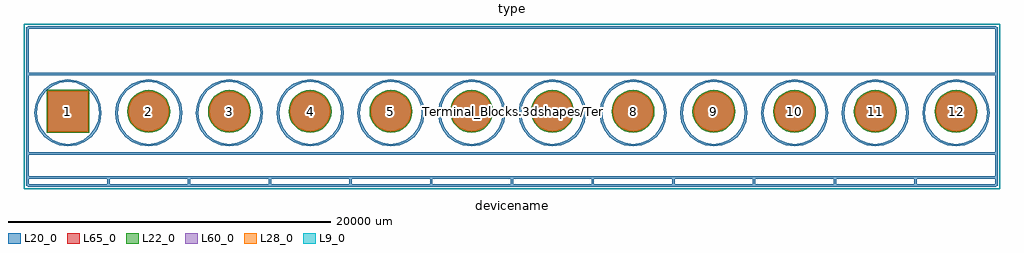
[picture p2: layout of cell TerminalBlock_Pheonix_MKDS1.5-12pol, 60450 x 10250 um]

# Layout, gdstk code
import gdstk
lib = gdstk.Library(unit=1e-6, precision=1e-09)
def R(c, l, rs):  # rectangles x0, y0, x1, y1
    for r in rs: c.add(gdstk.rectangle(r[:2], r[2:], *l))
def P(c, l, *ps):  # polygons
    for p in ps: c.add(gdstk.Polygon(p, *l))
L9_0 = (9, 0)
L20_0 = (20, 0)
L22_0 = (22, 0)
L28_0 = (28, 0)
L60_0 = (60, 0)
L65_0 = (65, 0)

terminalblock_pheonix_mk = lib.new_cell('TerminalBlock_Pheonix_MKDS1.5-12pol')
R(terminalblock_pheonix_mk, L22_0, [(-1325,-1325,1325,1325)])
P(terminalblock_pheonix_mk, L22_0, [(6325,0),(6299.54,258.495),(6224.14,507.056),(6101.697,736.131),(5936.916,936.916),(5736.131,1101.697),(5507.056,1224.14),(5258.495,1299.54),(5000,1325),(4741.505,1299.54),(4492.944,1224.14),(4263.869,1101.697),(4063.084,936.916),(3898.303,736.131),(3775.86,507.056),(3700.46,258.495),(3675,0),(3700.46,-258.495),(3775.86,-507.056),(3898.303,-736.131),(4063.084,-936.916),(4263.869,-1101.697),(4492.944,-1224.14),(4741.505,-1299.54),(5000,-1325),(5258.495,-1299.54),(5507.056,-1224.14),(5736.131,-1101.697),(5936.916,-936.916),(6101.697,-736.131),(6224.14,-507.056),(6299.54,-258.495)],
  [(11325,0),(11299.54,258.495),(11224.14,507.056),(11101.697,736.131),(10936.916,936.916),(10736.131,1101.697),(10507.056,1224.14),(10258.495,1299.54),(10000,1325),(9741.505,1299.54),(9492.944,1224.14),(9263.869,1101.697),(9063.084,936.916),(8898.303,736.131),(8775.86,507.056),(8700.46,258.495),(8675,0),(8700.46,-258.495),(8775.86,-507.056),(8898.303,-736.131),(9063.084,-936.916),(9263.869,-1101.697),(9492.944,-1224.14),(9741.505,-1299.54),(10000,-1325),(10258.495,-1299.54),(10507.056,-1224.14),(10736.131,-1101.697),(10936.916,-936.916),(11101.697,-736.131),(11224.14,-507.056),(11299.54,-258.495)],
  [(16325,0),(16299.54,258.495),(16224.14,507.056),(16101.697,736.131),(15936.916,936.916),(15736.131,1101.697),(15507.056,1224.14),(15258.495,1299.54),(15000,1325),(14741.505,1299.54),(14492.944,1224.14),(14263.869,1101.697),(14063.084,936.916),(13898.303,736.131),(13775.86,507.056),(13700.46,258.495),(13675,0),(13700.46,-258.495),(13775.86,-507.056),(13898.303,-736.131),(14063.084,-936.916),(14263.869,-1101.697),(14492.944,-1224.14),(14741.505,-1299.54),(15000,-1325),(15258.495,-1299.54),(15507.056,-1224.14),(15736.131,-1101.697),(15936.916,-936.916),(16101.697,-736.131),(16224.14,-507.056),(16299.54,-258.495)],
  [(21325,0),(21299.54,258.495),(21224.14,507.056),(21101.697,736.131),(20936.916,936.916),(20736.131,1101.697),(20507.056,1224.14),(20258.495,1299.54),(20000,1325),(19741.505,1299.54),(19492.944,1224.14),(19263.869,1101.697),(19063.084,936.916),(18898.303,736.131),(18775.86,507.056),(18700.46,258.495),(18675,0),(18700.46,-258.495),(18775.86,-507.056),(18898.303,-736.131),(19063.084,-936.916),(19263.869,-1101.697),(19492.944,-1224.14),(19741.505,-1299.54),(20000,-1325),(20258.495,-1299.54),(20507.056,-1224.14),(20736.131,-1101.697),(20936.916,-936.916),(21101.697,-736.131),(21224.14,-507.056),(21299.54,-258.495)],
  [(26325,0),(26299.54,258.495),(26224.14,507.056),(26101.697,736.131),(25936.916,936.916),(25736.131,1101.697),(25507.056,1224.14),(25258.495,1299.54),(25000,1325),(24741.505,1299.54),(24492.944,1224.14),(24263.869,1101.697),(24063.084,936.916),(23898.303,736.131),(23775.86,507.056),(23700.46,258.495),(23675,0),(23700.46,-258.495),(23775.86,-507.056),(23898.303,-736.131),(24063.084,-936.916),(24263.869,-1101.697),(24492.944,-1224.14),(24741.505,-1299.54),(25000,-1325),(25258.495,-1299.54),(25507.056,-1224.14),(25736.131,-1101.697),(25936.916,-936.916),(26101.697,-736.131),(26224.14,-507.056),(26299.54,-258.495)],
  [(31325,0),(31299.54,258.495),(31224.14,507.056),(31101.697,736.131),(30936.916,936.916),(30736.131,1101.697),(30507.056,1224.14),(30258.495,1299.54),(30000,1325),(29741.505,1299.54),(29492.944,1224.14),(29263.869,1101.697),(29063.084,936.916),(28898.303,736.131),(28775.86,507.056),(28700.46,258.495),(28675,0),(28700.46,-258.495),(28775.86,-507.056),(28898.303,-736.131),(29063.084,-936.916),(29263.869,-1101.697),(29492.944,-1224.14),(29741.505,-1299.54),(30000,-1325),(30258.495,-1299.54),(30507.056,-1224.14),(30736.131,-1101.697),(30936.916,-936.916),(31101.697,-736.131),(31224.14,-507.056),(31299.54,-258.495)],
  [(36325,0),(36299.54,258.495),(36224.14,507.056),(36101.697,736.131),(35936.916,936.916),(35736.131,1101.697),(35507.056,1224.14),(35258.495,1299.54),(35000,1325),(34741.505,1299.54),(34492.944,1224.14),(34263.869,1101.697),(34063.084,936.916),(33898.303,736.131),(33775.86,507.056),(33700.46,258.495),(33675,0),(33700.46,-258.495),(33775.86,-507.056),(33898.303,-736.131),(34063.084,-936.916),(34263.869,-1101.697),(34492.944,-1224.14),(34741.505,-1299.54),(35000,-1325),(35258.495,-1299.54),(35507.056,-1224.14),(35736.131,-1101.697),(35936.916,-936.916),(36101.697,-736.131),(36224.14,-507.056),(36299.54,-258.495)],
  [(41325,0),(41299.54,258.495),(41224.14,507.056),(41101.697,736.131),(40936.916,936.916),(40736.131,1101.697),(40507.056,1224.14),(40258.495,1299.54),(40000,1325),(39741.505,1299.54),(39492.944,1224.14),(39263.869,1101.697),(39063.084,936.916),(38898.303,736.131),(38775.86,507.056),(38700.46,258.495),(38675,0),(38700.46,-258.495),(38775.86,-507.056),(38898.303,-736.131),(39063.084,-936.916),(39263.869,-1101.697),(39492.944,-1224.14),(39741.505,-1299.54),(40000,-1325),(40258.495,-1299.54),(40507.056,-1224.14),(40736.131,-1101.697),(40936.916,-936.916),(41101.697,-736.131),(41224.14,-507.056),(41299.54,-258.495)],
  [(46325,0),(46299.54,258.495),(46224.14,507.056),(46101.697,736.131),(45936.916,936.916),(45736.131,1101.697),(45507.056,1224.14),(45258.495,1299.54),(45000,1325),(44741.505,1299.54),(44492.944,1224.14),(44263.869,1101.697),(44063.084,936.916),(43898.303,736.131),(43775.86,507.056),(43700.46,258.495),(43675,0),(43700.46,-258.495),(43775.86,-507.056),(43898.303,-736.131),(44063.084,-936.916),(44263.869,-1101.697),(44492.944,-1224.14),(44741.505,-1299.54),(45000,-1325),(45258.495,-1299.54),(45507.056,-1224.14),(45736.131,-1101.697),(45936.916,-936.916),(46101.697,-736.131),(46224.14,-507.056),(46299.54,-258.495)],
  [(51325,0),(51299.54,258.495),(51224.14,507.056),(51101.697,736.131),(50936.916,936.916),(50736.131,1101.697),(50507.056,1224.14),(50258.495,1299.54),(50000,1325),(49741.505,1299.54),(49492.944,1224.14),(49263.869,1101.697),(49063.084,936.916),(48898.303,736.131),(48775.86,507.056),(48700.46,258.495),(48675,0),(48700.46,-258.495),(48775.86,-507.056),(48898.303,-736.131),(49063.084,-936.916),(49263.869,-1101.697),(49492.944,-1224.14),(49741.505,-1299.54),(50000,-1325),(50258.495,-1299.54),(50507.056,-1224.14),(50736.131,-1101.697),(50936.916,-936.916),(51101.697,-736.131),(51224.14,-507.056),(51299.54,-258.495)],
  [(56325,0),(56299.54,258.495),(56224.14,507.056),(56101.697,736.131),(55936.916,936.916),(55736.131,1101.697),(55507.056,1224.14),(55258.495,1299.54),(55000,1325),(54741.505,1299.54),(54492.944,1224.14),(54263.869,1101.697),(54063.084,936.916),(53898.303,736.131),(53775.86,507.056),(53700.46,258.495),(53675,0),(53700.46,-258.495),(53775.86,-507.056),(53898.303,-736.131),(54063.084,-936.916),(54263.869,-1101.697),(54492.944,-1224.14),(54741.505,-1299.54),(55000,-1325),(55258.495,-1299.54),(55507.056,-1224.14),(55736.131,-1101.697),(55936.916,-936.916),(56101.697,-736.131),(56224.14,-507.056),(56299.54,-258.495)])
R(terminalblock_pheonix_mk, L28_0, [(-1250,-1250,1250,1250)])
P(terminalblock_pheonix_mk, L28_0, [(6250,0),(6225.982,243.863),(6154.849,478.354),(6039.337,694.463),(5883.883,883.883),(5694.463,1039.337),(5478.354,1154.849),(5243.863,1225.982),(5000,1250),(4756.137,1225.982),(4521.646,1154.849),(4305.537,1039.337),(4116.117,883.883),(3960.663,694.463),(3845.151,478.354),(3774.018,243.863),(3750,0),(3774.018,-243.863),(3845.151,-478.354),(3960.663,-694.463),(4116.117,-883.883),(4305.537,-1039.337),(4521.646,-1154.849),(4756.137,-1225.982),(5000,-1250),(5243.863,-1225.982),(5478.354,-1154.849),(5694.463,-1039.337),(5883.883,-883.883),(6039.337,-694.463),(6154.849,-478.354),(6225.982,-243.863)],
  [(11250,0),(11225.982,243.863),(11154.849,478.354),(11039.337,694.463),(10883.883,883.883),(10694.463,1039.337),(10478.354,1154.849),(10243.863,1225.982),(10000,1250),(9756.137,1225.982),(9521.646,1154.849),(9305.537,1039.337),(9116.117,883.883),(8960.663,694.463),(8845.151,478.354),(8774.018,243.863),(8750,0),(8774.018,-243.863),(8845.151,-478.354),(8960.663,-694.463),(9116.117,-883.883),(9305.537,-1039.337),(9521.646,-1154.849),(9756.137,-1225.982),(10000,-1250),(10243.863,-1225.982),(10478.354,-1154.849),(10694.463,-1039.337),(10883.883,-883.883),(11039.337,-694.463),(11154.849,-478.354),(11225.982,-243.863)],
  [(16250,0),(16225.982,243.863),(16154.849,478.354),(16039.337,694.463),(15883.883,883.883),(15694.463,1039.337),(15478.354,1154.849),(15243.863,1225.982),(15000,1250),(14756.137,1225.982),(14521.646,1154.849),(14305.537,1039.337),(14116.117,883.883),(13960.663,694.463),(13845.151,478.354),(13774.018,243.863),(13750,0),(13774.018,-243.863),(13845.151,-478.354),(13960.663,-694.463),(14116.117,-883.883),(14305.537,-1039.337),(14521.646,-1154.849),(14756.137,-1225.982),(15000,-1250),(15243.863,-1225.982),(15478.354,-1154.849),(15694.463,-1039.337),(15883.883,-883.883),(16039.337,-694.463),(16154.849,-478.354),(16225.982,-243.863)],
  [(21250,0),(21225.982,243.863),(21154.849,478.354),(21039.337,694.463),(20883.883,883.883),(20694.463,1039.337),(20478.354,1154.849),(20243.863,1225.982),(20000,1250),(19756.137,1225.982),(19521.646,1154.849),(19305.537,1039.337),(19116.117,883.883),(18960.663,694.463),(18845.151,478.354),(18774.018,243.863),(18750,0),(18774.018,-243.863),(18845.151,-478.354),(18960.663,-694.463),(19116.117,-883.883),(19305.537,-1039.337),(19521.646,-1154.849),(19756.137,-1225.982),(20000,-1250),(20243.863,-1225.982),(20478.354,-1154.849),(20694.463,-1039.337),(20883.883,-883.883),(21039.337,-694.463),(21154.849,-478.354),(21225.982,-243.863)],
  [(26250,0),(26225.982,243.863),(26154.849,478.354),(26039.337,694.463),(25883.883,883.883),(25694.463,1039.337),(25478.354,1154.849),(25243.863,1225.982),(25000,1250),(24756.137,1225.982),(24521.646,1154.849),(24305.537,1039.337),(24116.117,883.883),(23960.663,694.463),(23845.151,478.354),(23774.018,243.863),(23750,0),(23774.018,-243.863),(23845.151,-478.354),(23960.663,-694.463),(24116.117,-883.883),(24305.537,-1039.337),(24521.646,-1154.849),(24756.137,-1225.982),(25000,-1250),(25243.863,-1225.982),(25478.354,-1154.849),(25694.463,-1039.337),(25883.883,-883.883),(26039.337,-694.463),(26154.849,-478.354),(26225.982,-243.863)],
  [(31250,0),(31225.982,243.863),(31154.849,478.354),(31039.337,694.463),(30883.883,883.883),(30694.463,1039.337),(30478.354,1154.849),(30243.863,1225.982),(30000,1250),(29756.137,1225.982),(29521.646,1154.849),(29305.537,1039.337),(29116.117,883.883),(28960.663,694.463),(28845.151,478.354),(28774.018,243.863),(28750,0),(28774.018,-243.863),(28845.151,-478.354),(28960.663,-694.463),(29116.117,-883.883),(29305.537,-1039.337),(29521.646,-1154.849),(29756.137,-1225.982),(30000,-1250),(30243.863,-1225.982),(30478.354,-1154.849),(30694.463,-1039.337),(30883.883,-883.883),(31039.337,-694.463),(31154.849,-478.354),(31225.982,-243.863)],
  [(36250,0),(36225.982,243.863),(36154.849,478.354),(36039.337,694.463),(35883.883,883.883),(35694.463,1039.337),(35478.354,1154.849),(35243.863,1225.982),(35000,1250),(34756.137,1225.982),(34521.646,1154.849),(34305.537,1039.337),(34116.117,883.883),(33960.663,694.463),(33845.151,478.354),(33774.018,243.863),(33750,0),(33774.018,-243.863),(33845.151,-478.354),(33960.663,-694.463),(34116.117,-883.883),(34305.537,-1039.337),(34521.646,-1154.849),(34756.137,-1225.982),(35000,-1250),(35243.863,-1225.982),(35478.354,-1154.849),(35694.463,-1039.337),(35883.883,-883.883),(36039.337,-694.463),(36154.849,-478.354),(36225.982,-243.863)],
  [(41250,0),(41225.982,243.863),(41154.849,478.354),(41039.337,694.463),(40883.883,883.883),(40694.463,1039.337),(40478.354,1154.849),(40243.863,1225.982),(40000,1250),(39756.137,1225.982),(39521.646,1154.849),(39305.537,1039.337),(39116.117,883.883),(38960.663,694.463),(38845.151,478.354),(38774.018,243.863),(38750,0),(38774.018,-243.863),(38845.151,-478.354),(38960.663,-694.463),(39116.117,-883.883),(39305.537,-1039.337),(39521.646,-1154.849),(39756.137,-1225.982),(40000,-1250),(40243.863,-1225.982),(40478.354,-1154.849),(40694.463,-1039.337),(40883.883,-883.883),(41039.337,-694.463),(41154.849,-478.354),(41225.982,-243.863)],
  [(46250,0),(46225.982,243.863),(46154.849,478.354),(46039.337,694.463),(45883.883,883.883),(45694.463,1039.337),(45478.354,1154.849),(45243.863,1225.982),(45000,1250),(44756.137,1225.982),(44521.646,1154.849),(44305.537,1039.337),(44116.117,883.883),(43960.663,694.463),(43845.151,478.354),(43774.018,243.863),(43750,0),(43774.018,-243.863),(43845.151,-478.354),(43960.663,-694.463),(44116.117,-883.883),(44305.537,-1039.337),(44521.646,-1154.849),(44756.137,-1225.982),(45000,-1250),(45243.863,-1225.982),(45478.354,-1154.849),(45694.463,-1039.337),(45883.883,-883.883),(46039.337,-694.463),(46154.849,-478.354),(46225.982,-243.863)],
  [(51250,0),(51225.982,243.863),(51154.849,478.354),(51039.337,694.463),(50883.883,883.883),(50694.463,1039.337),(50478.354,1154.849),(50243.863,1225.982),(50000,1250),(49756.137,1225.982),(49521.646,1154.849),(49305.537,1039.337),(49116.117,883.883),(48960.663,694.463),(48845.151,478.354),(48774.018,243.863),(48750,0),(48774.018,-243.863),(48845.151,-478.354),(48960.663,-694.463),(49116.117,-883.883),(49305.537,-1039.337),(49521.646,-1154.849),(49756.137,-1225.982),(50000,-1250),(50243.863,-1225.982),(50478.354,-1154.849),(50694.463,-1039.337),(50883.883,-883.883),(51039.337,-694.463),(51154.849,-478.354),(51225.982,-243.863)],
  [(56250,0),(56225.982,243.863),(56154.849,478.354),(56039.337,694.463),(55883.883,883.883),(55694.463,1039.337),(55478.354,1154.849),(55243.863,1225.982),(55000,1250),(54756.137,1225.982),(54521.646,1154.849),(54305.537,1039.337),(54116.117,883.883),(53960.663,694.463),(53845.151,478.354),(53774.018,243.863),(53750,0),(53774.018,-243.863),(53845.151,-478.354),(53960.663,-694.463),(54116.117,-883.883),(54305.537,-1039.337),(54521.646,-1154.849),(54756.137,-1225.982),(55000,-1250),(55243.863,-1225.982),(55478.354,-1154.849),(55694.463,-1039.337),(55883.883,-883.883),(56039.337,-694.463),(56154.849,-478.354),(56225.982,-243.863)])
R(terminalblock_pheonix_mk, L60_0, [(-1250,-1250,1250,1250)])
P(terminalblock_pheonix_mk, L60_0, [(6250,0),(6225.982,243.863),(6154.849,478.354),(6039.337,694.463),(5883.883,883.883),(5694.463,1039.337),(5478.354,1154.849),(5243.863,1225.982),(5000,1250),(4756.137,1225.982),(4521.646,1154.849),(4305.537,1039.337),(4116.117,883.883),(3960.663,694.463),(3845.151,478.354),(3774.018,243.863),(3750,0),(3774.018,-243.863),(3845.151,-478.354),(3960.663,-694.463),(4116.117,-883.883),(4305.537,-1039.337),(4521.646,-1154.849),(4756.137,-1225.982),(5000,-1250),(5243.863,-1225.982),(5478.354,-1154.849),(5694.463,-1039.337),(5883.883,-883.883),(6039.337,-694.463),(6154.849,-478.354),(6225.982,-243.863)],
  [(11250,0),(11225.982,243.863),(11154.849,478.354),(11039.337,694.463),(10883.883,883.883),(10694.463,1039.337),(10478.354,1154.849),(10243.863,1225.982),(10000,1250),(9756.137,1225.982),(9521.646,1154.849),(9305.537,1039.337),(9116.117,883.883),(8960.663,694.463),(8845.151,478.354),(8774.018,243.863),(8750,0),(8774.018,-243.863),(8845.151,-478.354),(8960.663,-694.463),(9116.117,-883.883),(9305.537,-1039.337),(9521.646,-1154.849),(9756.137,-1225.982),(10000,-1250),(10243.863,-1225.982),(10478.354,-1154.849),(10694.463,-1039.337),(10883.883,-883.883),(11039.337,-694.463),(11154.849,-478.354),(11225.982,-243.863)],
  [(16250,0),(16225.982,243.863),(16154.849,478.354),(16039.337,694.463),(15883.883,883.883),(15694.463,1039.337),(15478.354,1154.849),(15243.863,1225.982),(15000,1250),(14756.137,1225.982),(14521.646,1154.849),(14305.537,1039.337),(14116.117,883.883),(13960.663,694.463),(13845.151,478.354),(13774.018,243.863),(13750,0),(13774.018,-243.863),(13845.151,-478.354),(13960.663,-694.463),(14116.117,-883.883),(14305.537,-1039.337),(14521.646,-1154.849),(14756.137,-1225.982),(15000,-1250),(15243.863,-1225.982),(15478.354,-1154.849),(15694.463,-1039.337),(15883.883,-883.883),(16039.337,-694.463),(16154.849,-478.354),(16225.982,-243.863)],
  [(21250,0),(21225.982,243.863),(21154.849,478.354),(21039.337,694.463),(20883.883,883.883),(20694.463,1039.337),(20478.354,1154.849),(20243.863,1225.982),(20000,1250),(19756.137,1225.982),(19521.646,1154.849),(19305.537,1039.337),(19116.117,883.883),(18960.663,694.463),(18845.151,478.354),(18774.018,243.863),(18750,0),(18774.018,-243.863),(18845.151,-478.354),(18960.663,-694.463),(19116.117,-883.883),(19305.537,-1039.337),(19521.646,-1154.849),(19756.137,-1225.982),(20000,-1250),(20243.863,-1225.982),(20478.354,-1154.849),(20694.463,-1039.337),(20883.883,-883.883),(21039.337,-694.463),(21154.849,-478.354),(21225.982,-243.863)],
  [(26250,0),(26225.982,243.863),(26154.849,478.354),(26039.337,694.463),(25883.883,883.883),(25694.463,1039.337),(25478.354,1154.849),(25243.863,1225.982),(25000,1250),(24756.137,1225.982),(24521.646,1154.849),(24305.537,1039.337),(24116.117,883.883),(23960.663,694.463),(23845.151,478.354),(23774.018,243.863),(23750,0),(23774.018,-243.863),(23845.151,-478.354),(23960.663,-694.463),(24116.117,-883.883),(24305.537,-1039.337),(24521.646,-1154.849),(24756.137,-1225.982),(25000,-1250),(25243.863,-1225.982),(25478.354,-1154.849),(25694.463,-1039.337),(25883.883,-883.883),(26039.337,-694.463),(26154.849,-478.354),(26225.982,-243.863)],
  [(31250,0),(31225.982,243.863),(31154.849,478.354),(31039.337,694.463),(30883.883,883.883),(30694.463,1039.337),(30478.354,1154.849),(30243.863,1225.982),(30000,1250),(29756.137,1225.982),(29521.646,1154.849),(29305.537,1039.337),(29116.117,883.883),(28960.663,694.463),(28845.151,478.354),(28774.018,243.863),(28750,0),(28774.018,-243.863),(28845.151,-478.354),(28960.663,-694.463),(29116.117,-883.883),(29305.537,-1039.337),(29521.646,-1154.849),(29756.137,-1225.982),(30000,-1250),(30243.863,-1225.982),(30478.354,-1154.849),(30694.463,-1039.337),(30883.883,-883.883),(31039.337,-694.463),(31154.849,-478.354),(31225.982,-243.863)],
  [(36250,0),(36225.982,243.863),(36154.849,478.354),(36039.337,694.463),(35883.883,883.883),(35694.463,1039.337),(35478.354,1154.849),(35243.863,1225.982),(35000,1250),(34756.137,1225.982),(34521.646,1154.849),(34305.537,1039.337),(34116.117,883.883),(33960.663,694.463),(33845.151,478.354),(33774.018,243.863),(33750,0),(33774.018,-243.863),(33845.151,-478.354),(33960.663,-694.463),(34116.117,-883.883),(34305.537,-1039.337),(34521.646,-1154.849),(34756.137,-1225.982),(35000,-1250),(35243.863,-1225.982),(35478.354,-1154.849),(35694.463,-1039.337),(35883.883,-883.883),(36039.337,-694.463),(36154.849,-478.354),(36225.982,-243.863)],
  [(41250,0),(41225.982,243.863),(41154.849,478.354),(41039.337,694.463),(40883.883,883.883),(40694.463,1039.337),(40478.354,1154.849),(40243.863,1225.982),(40000,1250),(39756.137,1225.982),(39521.646,1154.849),(39305.537,1039.337),(39116.117,883.883),(38960.663,694.463),(38845.151,478.354),(38774.018,243.863),(38750,0),(38774.018,-243.863),(38845.151,-478.354),(38960.663,-694.463),(39116.117,-883.883),(39305.537,-1039.337),(39521.646,-1154.849),(39756.137,-1225.982),(40000,-1250),(40243.863,-1225.982),(40478.354,-1154.849),(40694.463,-1039.337),(40883.883,-883.883),(41039.337,-694.463),(41154.849,-478.354),(41225.982,-243.863)],
  [(46250,0),(46225.982,243.863),(46154.849,478.354),(46039.337,694.463),(45883.883,883.883),(45694.463,1039.337),(45478.354,1154.849),(45243.863,1225.982),(45000,1250),(44756.137,1225.982),(44521.646,1154.849),(44305.537,1039.337),(44116.117,883.883),(43960.663,694.463),(43845.151,478.354),(43774.018,243.863),(43750,0),(43774.018,-243.863),(43845.151,-478.354),(43960.663,-694.463),(44116.117,-883.883),(44305.537,-1039.337),(44521.646,-1154.849),(44756.137,-1225.982),(45000,-1250),(45243.863,-1225.982),(45478.354,-1154.849),(45694.463,-1039.337),(45883.883,-883.883),(46039.337,-694.463),(46154.849,-478.354),(46225.982,-243.863)],
  [(51250,0),(51225.982,243.863),(51154.849,478.354),(51039.337,694.463),(50883.883,883.883),(50694.463,1039.337),(50478.354,1154.849),(50243.863,1225.982),(50000,1250),(49756.137,1225.982),(49521.646,1154.849),(49305.537,1039.337),(49116.117,883.883),(48960.663,694.463),(48845.151,478.354),(48774.018,243.863),(48750,0),(48774.018,-243.863),(48845.151,-478.354),(48960.663,-694.463),(49116.117,-883.883),(49305.537,-1039.337),(49521.646,-1154.849),(49756.137,-1225.982),(50000,-1250),(50243.863,-1225.982),(50478.354,-1154.849),(50694.463,-1039.337),(50883.883,-883.883),(51039.337,-694.463),(51154.849,-478.354),(51225.982,-243.863)],
  [(56250,0),(56225.982,243.863),(56154.849,478.354),(56039.337,694.463),(55883.883,883.883),(55694.463,1039.337),(55478.354,1154.849),(55243.863,1225.982),(55000,1250),(54756.137,1225.982),(54521.646,1154.849),(54305.537,1039.337),(54116.117,883.883),(53960.663,694.463),(53845.151,478.354),(53774.018,243.863),(53750,0),(53774.018,-243.863),(53845.151,-478.354),(53960.663,-694.463),(54116.117,-883.883),(54305.537,-1039.337),(54521.646,-1154.849),(54756.137,-1225.982),(55000,-1250),(55243.863,-1225.982),(55478.354,-1154.849),(55694.463,-1039.337),(55883.883,-883.883),(56039.337,-694.463),(56154.849,-478.354),(56225.982,-243.863)])
R(terminalblock_pheonix_mk, L65_0, [(-1325,-1325,1325,1325)])
P(terminalblock_pheonix_mk, L65_0, [(6325,0),(6299.54,258.495),(6224.14,507.056),(6101.697,736.131),(5936.916,936.916),(5736.131,1101.697),(5507.056,1224.14),(5258.495,1299.54),(5000,1325),(4741.505,1299.54),(4492.944,1224.14),(4263.869,1101.697),(4063.084,936.916),(3898.303,736.131),(3775.86,507.056),(3700.46,258.495),(3675,0),(3700.46,-258.495),(3775.86,-507.056),(3898.303,-736.131),(4063.084,-936.916),(4263.869,-1101.697),(4492.944,-1224.14),(4741.505,-1299.54),(5000,-1325),(5258.495,-1299.54),(5507.056,-1224.14),(5736.131,-1101.697),(5936.916,-936.916),(6101.697,-736.131),(6224.14,-507.056),(6299.54,-258.495)],
  [(11325,0),(11299.54,258.495),(11224.14,507.056),(11101.697,736.131),(10936.916,936.916),(10736.131,1101.697),(10507.056,1224.14),(10258.495,1299.54),(10000,1325),(9741.505,1299.54),(9492.944,1224.14),(9263.869,1101.697),(9063.084,936.916),(8898.303,736.131),(8775.86,507.056),(8700.46,258.495),(8675,0),(8700.46,-258.495),(8775.86,-507.056),(8898.303,-736.131),(9063.084,-936.916),(9263.869,-1101.697),(9492.944,-1224.14),(9741.505,-1299.54),(10000,-1325),(10258.495,-1299.54),(10507.056,-1224.14),(10736.131,-1101.697),(10936.916,-936.916),(11101.697,-736.131),(11224.14,-507.056),(11299.54,-258.495)],
  [(16325,0),(16299.54,258.495),(16224.14,507.056),(16101.697,736.131),(15936.916,936.916),(15736.131,1101.697),(15507.056,1224.14),(15258.495,1299.54),(15000,1325),(14741.505,1299.54),(14492.944,1224.14),(14263.869,1101.697),(14063.084,936.916),(13898.303,736.131),(13775.86,507.056),(13700.46,258.495),(13675,0),(13700.46,-258.495),(13775.86,-507.056),(13898.303,-736.131),(14063.084,-936.916),(14263.869,-1101.697),(14492.944,-1224.14),(14741.505,-1299.54),(15000,-1325),(15258.495,-1299.54),(15507.056,-1224.14),(15736.131,-1101.697),(15936.916,-936.916),(16101.697,-736.131),(16224.14,-507.056),(16299.54,-258.495)],
  [(21325,0),(21299.54,258.495),(21224.14,507.056),(21101.697,736.131),(20936.916,936.916),(20736.131,1101.697),(20507.056,1224.14),(20258.495,1299.54),(20000,1325),(19741.505,1299.54),(19492.944,1224.14),(19263.869,1101.697),(19063.084,936.916),(18898.303,736.131),(18775.86,507.056),(18700.46,258.495),(18675,0),(18700.46,-258.495),(18775.86,-507.056),(18898.303,-736.131),(19063.084,-936.916),(19263.869,-1101.697),(19492.944,-1224.14),(19741.505,-1299.54),(20000,-1325),(20258.495,-1299.54),(20507.056,-1224.14),(20736.131,-1101.697),(20936.916,-936.916),(21101.697,-736.131),(21224.14,-507.056),(21299.54,-258.495)],
  [(26325,0),(26299.54,258.495),(26224.14,507.056),(26101.697,736.131),(25936.916,936.916),(25736.131,1101.697),(25507.056,1224.14),(25258.495,1299.54),(25000,1325),(24741.505,1299.54),(24492.944,1224.14),(24263.869,1101.697),(24063.084,936.916),(23898.303,736.131),(23775.86,507.056),(23700.46,258.495),(23675,0),(23700.46,-258.495),(23775.86,-507.056),(23898.303,-736.131),(24063.084,-936.916),(24263.869,-1101.697),(24492.944,-1224.14),(24741.505,-1299.54),(25000,-1325),(25258.495,-1299.54),(25507.056,-1224.14),(25736.131,-1101.697),(25936.916,-936.916),(26101.697,-736.131),(26224.14,-507.056),(26299.54,-258.495)],
  [(31325,0),(31299.54,258.495),(31224.14,507.056),(31101.697,736.131),(30936.916,936.916),(30736.131,1101.697),(30507.056,1224.14),(30258.495,1299.54),(30000,1325),(29741.505,1299.54),(29492.944,1224.14),(29263.869,1101.697),(29063.084,936.916),(28898.303,736.131),(28775.86,507.056),(28700.46,258.495),(28675,0),(28700.46,-258.495),(28775.86,-507.056),(28898.303,-736.131),(29063.084,-936.916),(29263.869,-1101.697),(29492.944,-1224.14),(29741.505,-1299.54),(30000,-1325),(30258.495,-1299.54),(30507.056,-1224.14),(30736.131,-1101.697),(30936.916,-936.916),(31101.697,-736.131),(31224.14,-507.056),(31299.54,-258.495)],
  [(36325,0),(36299.54,258.495),(36224.14,507.056),(36101.697,736.131),(35936.916,936.916),(35736.131,1101.697),(35507.056,1224.14),(35258.495,1299.54),(35000,1325),(34741.505,1299.54),(34492.944,1224.14),(34263.869,1101.697),(34063.084,936.916),(33898.303,736.131),(33775.86,507.056),(33700.46,258.495),(33675,0),(33700.46,-258.495),(33775.86,-507.056),(33898.303,-736.131),(34063.084,-936.916),(34263.869,-1101.697),(34492.944,-1224.14),(34741.505,-1299.54),(35000,-1325),(35258.495,-1299.54),(35507.056,-1224.14),(35736.131,-1101.697),(35936.916,-936.916),(36101.697,-736.131),(36224.14,-507.056),(36299.54,-258.495)],
  [(41325,0),(41299.54,258.495),(41224.14,507.056),(41101.697,736.131),(40936.916,936.916),(40736.131,1101.697),(40507.056,1224.14),(40258.495,1299.54),(40000,1325),(39741.505,1299.54),(39492.944,1224.14),(39263.869,1101.697),(39063.084,936.916),(38898.303,736.131),(38775.86,507.056),(38700.46,258.495),(38675,0),(38700.46,-258.495),(38775.86,-507.056),(38898.303,-736.131),(39063.084,-936.916),(39263.869,-1101.697),(39492.944,-1224.14),(39741.505,-1299.54),(40000,-1325),(40258.495,-1299.54),(40507.056,-1224.14),(40736.131,-1101.697),(40936.916,-936.916),(41101.697,-736.131),(41224.14,-507.056),(41299.54,-258.495)],
  [(46325,0),(46299.54,258.495),(46224.14,507.056),(46101.697,736.131),(45936.916,936.916),(45736.131,1101.697),(45507.056,1224.14),(45258.495,1299.54),(45000,1325),(44741.505,1299.54),(44492.944,1224.14),(44263.869,1101.697),(44063.084,936.916),(43898.303,736.131),(43775.86,507.056),(43700.46,258.495),(43675,0),(43700.46,-258.495),(43775.86,-507.056),(43898.303,-736.131),(44063.084,-936.916),(44263.869,-1101.697),(44492.944,-1224.14),(44741.505,-1299.54),(45000,-1325),(45258.495,-1299.54),(45507.056,-1224.14),(45736.131,-1101.697),(45936.916,-936.916),(46101.697,-736.131),(46224.14,-507.056),(46299.54,-258.495)],
  [(51325,0),(51299.54,258.495),(51224.14,507.056),(51101.697,736.131),(50936.916,936.916),(50736.131,1101.697),(50507.056,1224.14),(50258.495,1299.54),(50000,1325),(49741.505,1299.54),(49492.944,1224.14),(49263.869,1101.697),(49063.084,936.916),(48898.303,736.131),(48775.86,507.056),(48700.46,258.495),(48675,0),(48700.46,-258.495),(48775.86,-507.056),(48898.303,-736.131),(49063.084,-936.916),(49263.869,-1101.697),(49492.944,-1224.14),(49741.505,-1299.54),(50000,-1325),(50258.495,-1299.54),(50507.056,-1224.14),(50736.131,-1101.697),(50936.916,-936.916),(51101.697,-736.131),(51224.14,-507.056),(51299.54,-258.495)],
  [(56325,0),(56299.54,258.495),(56224.14,507.056),(56101.697,736.131),(55936.916,936.916),(55736.131,1101.697),(55507.056,1224.14),(55258.495,1299.54),(55000,1325),(54741.505,1299.54),(54492.944,1224.14),(54263.869,1101.697),(54063.084,936.916),(53898.303,736.131),(53775.86,507.056),(53700.46,258.495),(53675,0),(53700.46,-258.495),(53775.86,-507.056),(53898.303,-736.131),(54063.084,-936.916),(54263.869,-1101.697),(54492.944,-1224.14),(54741.505,-1299.54),(55000,-1325),(55258.495,-1299.54),(55507.056,-1224.14),(55736.131,-1101.697),(55936.916,-936.916),(56101.697,-736.131),(56224.14,-507.056),(56299.54,-258.495)])
terminalblock_pheonix_mk.add(gdstk.FlexPath([(-2500,5200),(-2500,-4600)], 149.998, ends="flush", simple_path=True, layer=20, datatype=0))  # L20_0
terminalblock_pheonix_mk.add(gdstk.FlexPath([(57500,5200),(-2500,5200)], 149.998, ends="flush", simple_path=True, layer=20, datatype=0))  # L20_0
terminalblock_pheonix_mk.add(gdstk.FlexPath([(57500,-4600),(57500,5200)], 149.998, ends="flush", simple_path=True, layer=20, datatype=0))  # L20_0
terminalblock_pheonix_mk.add(gdstk.FlexPath([(-2500,-4600),(57500,-4600)], 149.998, ends="flush", simple_path=True, layer=20, datatype=0))  # L20_0
terminalblock_pheonix_mk.add(gdstk.FlexPath([(-2500,-4100),(57500,-4100)], 149.998, ends="flush", simple_path=True, layer=20, datatype=0))  # L20_0
terminalblock_pheonix_mk.add(gdstk.FlexPath([(-2500,2300),(57500,2300)], 149.998, ends="flush", simple_path=True, layer=20, datatype=0))  # L20_0
terminalblock_pheonix_mk.add(gdstk.FlexPath([(-2500,-2600),(57500,-2600)], 149.998, ends="flush", simple_path=True, layer=20, datatype=0))  # L20_0
terminalblock_pheonix_mk.add(gdstk.FlexPath([(2000,-100),(1931.852,417.638),(1732.051,900),(1414.214,1314.214),(1000,1632.051),(517.638,1831.852),(0,1900),(-517.638,1831.852),(-1000,1632.051),(-1414.214,1314.214),(-1732.051,900),(-1931.852,417.638),(-2000,-100),(-1931.852,-617.638),(-1732.051,-1100),(-1414.214,-1514.214),(-1000,-1832.051),(-517.638,-2031.852),(0,-2100),(517.638,-2031.852),(1000,-1832.051),(1414.214,-1514.214),(1732.051,-1100),(1931.852,-617.638),(2000,-100)], 149.998, ends="flush", simple_path=True, layer=20, datatype=0))  # L20_0
terminalblock_pheonix_mk.add(gdstk.FlexPath([(3000,-100),(3068.148,-617.638),(3267.949,-1100),(3585.786,-1514.214),(4000,-1832.051),(4482.362,-2031.852),(5000,-2100),(5517.638,-2031.852),(6000,-1832.051),(6414.214,-1514.214),(6732.051,-1100),(6931.852,-617.638),(7000,-100),(6931.852,417.638),(6732.051,900),(6414.214,1314.214),(6000,1632.051),(5517.638,1831.852),(5000,1900),(4482.362,1831.852),(4000,1632.051),(3585.786,1314.214),(3267.949,900),(3068.148,417.638),(3000,-100)], 149.998, ends="flush", simple_path=True, layer=20, datatype=0))  # L20_0
terminalblock_pheonix_mk.add(gdstk.FlexPath([(2500,-4100),(2500,-4600)], 149.998, ends="flush", simple_path=True, layer=20, datatype=0))  # L20_0
terminalblock_pheonix_mk.add(gdstk.FlexPath([(7500,-4100),(7500,-4600)], 149.998, ends="flush", simple_path=True, layer=20, datatype=0))  # L20_0
terminalblock_pheonix_mk.add(gdstk.FlexPath([(8000,-100),(8068.148,-617.638),(8267.949,-1100),(8585.786,-1514.214),(9000,-1832.051),(9482.362,-2031.852),(10000,-2100),(10517.638,-2031.852),(11000,-1832.051),(11414.214,-1514.214),(11732.051,-1100),(11931.852,-617.638),(12000,-100),(11931.852,417.638),(11732.051,900),(11414.214,1314.214),(11000,1632.051),(10517.638,1831.852),(10000,1900),(9482.362,1831.852),(9000,1632.051),(8585.786,1314.214),(8267.949,900),(8068.148,417.638),(8000,-100)], 149.998, ends="flush", simple_path=True, layer=20, datatype=0))  # L20_0
terminalblock_pheonix_mk.add(gdstk.FlexPath([(13000,-100),(13068.148,-617.638),(13267.949,-1100),(13585.786,-1514.214),(14000,-1832.051),(14482.362,-2031.852),(15000,-2100),(15517.638,-2031.852),(16000,-1832.051),(16414.214,-1514.214),(16732.051,-1100),(16931.852,-617.638),(17000,-100),(16931.852,417.638),(16732.051,900),(16414.214,1314.214),(16000,1632.051),(15517.638,1831.852),(15000,1900),(14482.362,1831.852),(14000,1632.051),(13585.786,1314.214),(13267.949,900),(13068.148,417.638),(13000,-100)], 149.998, ends="flush", simple_path=True, layer=20, datatype=0))  # L20_0
terminalblock_pheonix_mk.add(gdstk.FlexPath([(12500,-4100),(12500,-4600)], 149.998, ends="flush", simple_path=True, layer=20, datatype=0))  # L20_0
terminalblock_pheonix_mk.add(gdstk.FlexPath([(18000,-100),(18068.148,-617.638),(18267.949,-1100),(18585.786,-1514.214),(19000,-1832.051),(19482.362,-2031.852),(20000,-2100),(20517.638,-2031.852),(21000,-1832.051),(21414.214,-1514.214),(21732.051,-1100),(21931.852,-617.638),(22000,-100),(21931.852,417.638),(21732.051,900),(21414.214,1314.214),(21000,1632.051),(20517.638,1831.852),(20000,1900),(19482.362,1831.852),(19000,1632.051),(18585.786,1314.214),(18267.949,900),(18068.148,417.638),(18000,-100)], 149.998, ends="flush", simple_path=True, layer=20, datatype=0))  # L20_0
terminalblock_pheonix_mk.add(gdstk.FlexPath([(17500,-4100),(17500,-4600)], 149.998, ends="flush", simple_path=True, layer=20, datatype=0))  # L20_0
terminalblock_pheonix_mk.add(gdstk.FlexPath([(22500,-4100),(22500,-4600)], 149.998, ends="flush", simple_path=True, layer=20, datatype=0))  # L20_0
terminalblock_pheonix_mk.add(gdstk.FlexPath([(23000,-100),(23068.148,-617.638),(23267.949,-1100),(23585.786,-1514.214),(24000,-1832.051),(24482.362,-2031.852),(25000,-2100),(25517.638,-2031.852),(26000,-1832.051),(26414.214,-1514.214),(26732.051,-1100),(26931.852,-617.638),(27000,-100),(26931.852,417.638),(26732.051,900),(26414.214,1314.214),(26000,1632.051),(25517.638,1831.852),(25000,1900),(24482.362,1831.852),(24000,1632.051),(23585.786,1314.214),(23267.949,900),(23068.148,417.638),(23000,-100)], 149.998, ends="flush", simple_path=True, layer=20, datatype=0))  # L20_0
terminalblock_pheonix_mk.add(gdstk.FlexPath([(28000,-100),(28068.148,-617.638),(28267.949,-1100),(28585.786,-1514.214),(29000,-1832.051),(29482.362,-2031.852),(30000,-2100),(30517.638,-2031.852),(31000,-1832.051),(31414.214,-1514.214),(31732.051,-1100),(31931.852,-617.638),(32000,-100),(31931.852,417.638),(31732.051,900),(31414.214,1314.214),(31000,1632.051),(30517.638,1831.852),(30000,1900),(29482.362,1831.852),(29000,1632.051),(28585.786,1314.214),(28267.949,900),(28068.148,417.638),(28000,-100)], 149.998, ends="flush", simple_path=True, layer=20, datatype=0))  # L20_0
terminalblock_pheonix_mk.add(gdstk.FlexPath([(27500,-4100),(27500,-4600)], 149.998, ends="flush", simple_path=True, layer=20, datatype=0))  # L20_0
terminalblock_pheonix_mk.add(gdstk.FlexPath([(32500,-4100),(32500,-4600)], 149.998, ends="flush", simple_path=True, layer=20, datatype=0))  # L20_0
terminalblock_pheonix_mk.add(gdstk.FlexPath([(33000,-100),(33068.148,-617.638),(33267.949,-1100),(33585.786,-1514.214),(34000,-1832.051),(34482.362,-2031.852),(35000,-2100),(35517.638,-2031.852),(36000,-1832.051),(36414.214,-1514.214),(36732.051,-1100),(36931.852,-617.638),(37000,-100),(36931.852,417.638),(36732.051,900),(36414.214,1314.214),(36000,1632.051),(35517.638,1831.852),(35000,1900),(34482.362,1831.852),(34000,1632.051),(33585.786,1314.214),(33267.949,900),(33068.148,417.638),(33000,-100)], 149.998, ends="flush", simple_path=True, layer=20, datatype=0))  # L20_0
terminalblock_pheonix_mk.add(gdstk.FlexPath([(38000,-100),(38068.148,-617.638),(38267.949,-1100),(38585.786,-1514.214),(39000,-1832.051),(39482.362,-2031.852),(40000,-2100),(40517.638,-2031.852),(41000,-1832.051),(41414.214,-1514.214),(41732.051,-1100),(41931.852,-617.638),(42000,-100),(41931.852,417.638),(41732.051,900),(41414.214,1314.214),(41000,1632.051),(40517.638,1831.852),(40000,1900),(39482.362,1831.852),(39000,1632.051),(38585.786,1314.214),(38267.949,900),(38068.148,417.638),(38000,-100)], 149.998, ends="flush", simple_path=True, layer=20, datatype=0))  # L20_0
terminalblock_pheonix_mk.add(gdstk.FlexPath([(37500,-4100),(37500,-4600)], 149.998, ends="flush", simple_path=True, layer=20, datatype=0))  # L20_0
terminalblock_pheonix_mk.add(gdstk.FlexPath([(42500,-4100),(42500,-4600)], 149.998, ends="flush", simple_path=True, layer=20, datatype=0))  # L20_0
terminalblock_pheonix_mk.add(gdstk.FlexPath([(43000,-100),(43068.148,-617.638),(43267.949,-1100),(43585.786,-1514.214),(44000,-1832.051),(44482.362,-2031.852),(45000,-2100),(45517.638,-2031.852),(46000,-1832.051),(46414.214,-1514.214),(46732.051,-1100),(46931.852,-617.638),(47000,-100),(46931.852,417.638),(46732.051,900),(46414.214,1314.214),(46000,1632.051),(45517.638,1831.852),(45000,1900),(44482.362,1831.852),(44000,1632.051),(43585.786,1314.214),(43267.949,900),(43068.148,417.638),(43000,-100)], 149.998, ends="flush", simple_path=True, layer=20, datatype=0))  # L20_0
terminalblock_pheonix_mk.add(gdstk.FlexPath([(48000,-100),(48068.148,-617.638),(48267.949,-1100),(48585.786,-1514.214),(49000,-1832.051),(49482.362,-2031.852),(50000,-2100),(50517.638,-2031.852),(51000,-1832.051),(51414.214,-1514.214),(51732.051,-1100),(51931.852,-617.638),(52000,-100),(51931.852,417.638),(51732.051,900),(51414.214,1314.214),(51000,1632.051),(50517.638,1831.852),(50000,1900),(49482.362,1831.852),(49000,1632.051),(48585.786,1314.214),(48267.949,900),(48068.148,417.638),(48000,-100)], 149.998, ends="flush", simple_path=True, layer=20, datatype=0))  # L20_0
terminalblock_pheonix_mk.add(gdstk.FlexPath([(47500,-4100),(47500,-4600)], 149.998, ends="flush", simple_path=True, layer=20, datatype=0))  # L20_0
terminalblock_pheonix_mk.add(gdstk.FlexPath([(52500,-4100),(52500,-4600)], 149.998, ends="flush", simple_path=True, layer=20, datatype=0))  # L20_0
terminalblock_pheonix_mk.add(gdstk.FlexPath([(53000,-100),(53068.148,-617.638),(53267.949,-1100),(53585.786,-1514.214),(54000,-1832.051),(54482.362,-2031.852),(55000,-2100),(55517.638,-2031.852),(56000,-1832.051),(56414.214,-1514.214),(56732.051,-1100),(56931.852,-617.638),(57000,-100),(56931.852,417.638),(56732.051,900),(56414.214,1314.214),(56000,1632.051),(55517.638,1831.852),(55000,1900),(54482.362,1831.852),(54000,1632.051),(53585.786,1314.214),(53267.949,900),(53068.148,417.638),(53000,-100)], 149.998, ends="flush", simple_path=True, layer=20, datatype=0))  # L20_0
terminalblock_pheonix_mk.add(gdstk.FlexPath([(57700,5400),(57700,-4800)], 50, ends="flush", simple_path=True, layer=9, datatype=0))  # L9_0
terminalblock_pheonix_mk.add(gdstk.FlexPath([(57700,-4800),(-2700,-4800)], 50, ends="flush", simple_path=True, layer=9, datatype=0))  # L9_0
terminalblock_pheonix_mk.add(gdstk.FlexPath([(-2700,-4800),(-2700,5400)], 50, ends="flush", simple_path=True, layer=9, datatype=0))  # L9_0
terminalblock_pheonix_mk.add(gdstk.FlexPath([(-2700,5400),(57700,5400)], 50, ends="flush", simple_path=True, layer=9, datatype=0))  # L9_0
terminalblock_pheonix_mk.add(gdstk.Label('Terminal_Blocks.3dshapes/TerminalBlock_Pheonix_MKDS1.5-12pol.wrl', (27500.58,0), layer=12, texttype=0))
terminalblock_pheonix_mk.add(gdstk.Label('2', (5000,0), layer=28, texttype=0))
terminalblock_pheonix_mk.add(gdstk.Label('1', (0,0), layer=28, texttype=0))
terminalblock_pheonix_mk.add(gdstk.Label('3', (10000,0), layer=28, texttype=0))
terminalblock_pheonix_mk.add(gdstk.Label('4', (15000,0), layer=28, texttype=0))
terminalblock_pheonix_mk.add(gdstk.Label('5', (20000,0), layer=28, texttype=0))
terminalblock_pheonix_mk.add(gdstk.Label('6', (25000,0), layer=28, texttype=0))
terminalblock_pheonix_mk.add(gdstk.Label('7', (30000,0), layer=28, texttype=0))
terminalblock_pheonix_mk.add(gdstk.Label('8', (35000,0), layer=28, texttype=0))
terminalblock_pheonix_mk.add(gdstk.Label('9', (40000,0), layer=28, texttype=0))
terminalblock_pheonix_mk.add(gdstk.Label('10', (45000,0), layer=28, texttype=0))
terminalblock_pheonix_mk.add(gdstk.Label('11', (50000,0), layer=28, texttype=0))
terminalblock_pheonix_mk.add(gdstk.Label('12', (55000,0), layer=28, texttype=0))
terminalblock_pheonix_mk.add(gdstk.Label('type', (27500,6600), layer=9, texttype=0))
terminalblock_pheonix_mk.add(gdstk.Label('devicename', (27500,-5900), layer=9, texttype=0))

lib.write_gds('TerminalBlock_Pheonix_MKDS1.5-12pol.gds')
